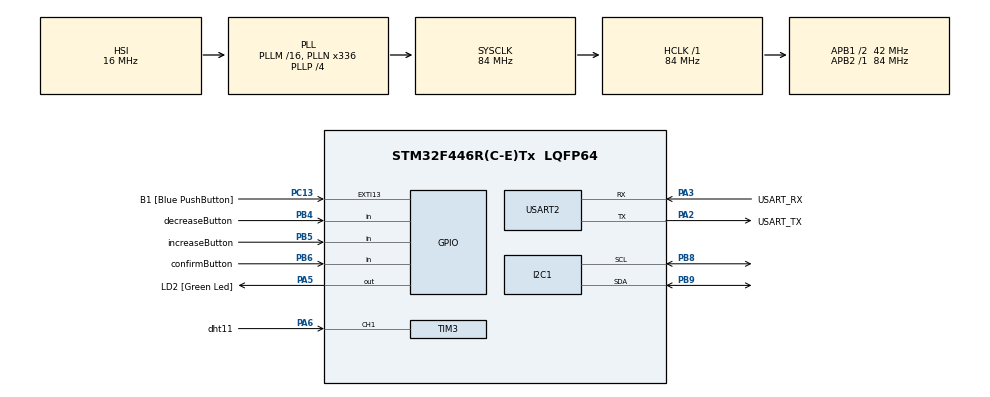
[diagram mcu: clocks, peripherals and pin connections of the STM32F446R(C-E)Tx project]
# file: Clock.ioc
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Mcu.Family=STM32F4
Mcu.Name=STM32F446R(C-E)Tx
Mcu.Package=LQFP64
NVIC.PriorityGroup=NVIC_PRIORITYGROUP_0
NVIC.RTC_Alarm_IRQn=true\:0\:0\:false\:false\:true\:true\:true\:true
NVIC.TIM2_IRQn=true\:0\:0\:false\:false\:true\:true\:true\:true
NVIC.TIM3_IRQn=true\:0\:0\:false\:false\:true\:true\:true\:true
PA13.GPIO_Label=TMS
PA13.Mode=Serial_Wire
PA13.Signal=SYS_JTMS-SWDIO
PA14.GPIO_Label=TCK
PA14.Mode=Serial_Wire
PA14.Signal=SYS_JTCK-SWCLK
PA2.GPIO_Label=USART_TX
PA2.Mode=Asynchronous
PA2.Signal=USART2_TX
PA3.GPIO_Label=USART_RX
PA3.Mode=Asynchronous
PA3.Signal=USART2_RX
PA4.Signal=USART2_CK
PA5.GPIO_Label=LD2 [Green Led]
PA5.Signal=GPIO_Output
PA6.GPIO_Label=dht11
PA6.GPIO_PuPd=GPIO_PULLUP
PA6.Signal=S_TIM3_CH1
PB3.GPIO_Label=SWO
PB3.Signal=SYS_JTDO-SWO
PB4.GPIO_Label=decreaseButton
PB4.GPIO_PuPd=GPIO_PULLDOWN
PB4.Signal=GPIO_Input
PB5.GPIO_Label=increaseButton
PB5.GPIO_PuPd=GPIO_PULLDOWN
PB5.Signal=GPIO_Input
PB6.GPIO_Label=confirmButton
PB6.Signal=GPIO_Input
PB8.Mode=I2C
PB8.Signal=I2C1_SCL
PB9.Mode=I2C
PB9.Signal=I2C1_SDA
PC13.GPIO_Label=B1 [Blue PushButton]
PC13.GPIO_ModeDefaultEXTI=GPIO_MODE_IT_FALLING
PC13.Signal=GPXTI13
PC14-OSC32_IN.Mode=LSE-External-Oscillator
PC14-OSC32_IN.Signal=RCC_OSC32_IN
PC15-OSC32_OUT.Mode=LSE-External-Oscillator
PC15-OSC32_OUT.Signal=RCC_OSC32_OUT
PH0-OSC_IN.Signal=RCC_OSC_IN
PH1-OSC_OUT.Signal=RCC_OSC_OUT
ProjectManager.HeapSize=0x200
ProjectManager.StackSize=0x400
ProjectManager.TargetToolchain=Makefile
RCC.48MHZClocksFreq_Value=84000000
RCC.AHBFreq_Value=84000000
RCC.APB1CLKDivider=RCC_HCLK_DIV2
RCC.APB1Freq_Value=42000000
RCC.APB1TimFreq_Value=84000000
RCC.APB2Freq_Value=84000000
RCC.APB2TimFreq_Value=84000000
RCC.CortexFreq_Value=84000000
RCC.FLatency-AdvancedSettings=FLASH_LATENCY_2
RCC.HCLKFreq_Value=84000000
RCC.HSE_VALUE=8000000
RCC.HSI_VALUE=16000000
RCC.PLLN=336
RCC.PLLP=RCC_PLLP_DIV4
RCC.RCC_RTC_Clock_SourceVirtual=RCC_RTCCLKSOURCE_LSE
RCC.SYSCLKFreq_VALUE=84000000
RCC.SYSCLKSource=RCC_SYSCLKSOURCE_PLLCLK
RCC.USBFreq_Value=168000000
RCC.VCOOutputFreq_Value=336000000
RTC.Alarm=RTC_ALARM_A
RTC.Format=RTC_FORMAT_BIN
SH.S_TIM3_CH1.0=TIM3_CH1,Input_Capture1_from_TI1
TIM2.AutoReloadPreload=TIM_AUTORELOAD_PRELOAD_ENABLE
TIM2.Period=500 - 1
TIM2.Prescaler=1600 - 1
TIM3.Channel-Input_Capture1_from_TI1=TIM_CHANNEL_1
TIM3.ICPolarity_CH1=TIM_INPUTCHANNELPOLARITY_FALLING
TIM3.Prescaler=83
USART2.VirtualMode=VM_ASYNC
VP_RTC_VS_RTC_Activate.Mode=RTC_Enabled
VP_RTC_VS_RTC_Alarm_A_Intern.Mode=Alarm A
VP_RTC_VS_RTC_Calendar.Mode=RTC_Calendar
VP_TIM2_VS_ClockSourceINT.Mode=Internal
VP_TIM3_VS_ClockSourceINT.Mode=Internal
board=NUCLEO-F446RE

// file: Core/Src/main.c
/* USER CODE BEGIN Header */
/**
  ******************************************************************************
  * @file           : main.c
  * @brief          : Main program body
  ******************************************************************************
  * @attention
  *
  * Copyright (c) 2026 STMicroelectronics.
  * All rights reserved.
  *
  * This software is licensed under terms that can be found in the LICENSE file
  * in the root directory of this software component.
  * If no LICENSE file comes with this software, it is provided AS-IS.
  *
  ******************************************************************************
  */
/* USER CODE END Header */
#include "main.h"

/* USER CODE BEGIN Includes */

#include "uart.h"
#include "lcd_hd44780.h"
#include "i2c_interface.h"
#include <stdio.h>
#include "clock.h"
#include "button.h"
#include "dht11.h"

/* USER CODE END Includes */

I2C_HandleTypeDef hi2c1;

RTC_HandleTypeDef hrtc;

TIM_HandleTypeDef htim2;
TIM_HandleTypeDef htim3;

UART_HandleTypeDef huart2;

/* USER CODE BEGIN PV */

RTC_TimeTypeDef sTime = {0};
RTC_DateTypeDef sDate = {0};

/* USER CODE END PV */

void SystemClock_Config(void);
static void MX_GPIO_Init(void);
static void MX_USART2_UART_Init(void);
static void MX_I2C1_Init(void);
static void MX_RTC_Init(void);
static void MX_TIM2_Init(void);
static void MX_TIM3_Init(void);

/* USER CODE BEGIN 0 */
volatile uint8_t dht_trigger_flag = 0;
static uint16_t dht11_timer = 200;

/* USER CODE END 0 */

int main(void)
{

  /* MCU Configuration--------------------------------------------------------*/

  /* Reset of all peripherals, Initializes the Flash interface and the Systick. */
  HAL_Init();

  /* Configure the system clock */
  SystemClock_Config();

  /* Initialize all configured peripherals */
  MX_GPIO_Init();
  MX_USART2_UART_Init();
  MX_I2C1_Init();
  MX_RTC_Init();
  MX_TIM2_Init();
  MX_TIM3_Init();
  /* USER CODE BEGIN 2 */

  uart_init();
  LCD_Init();

  HAL_RTC_Init(&hrtc);

  char buffer[100];

  HAL_TIM_Base_Start_IT(&htim2);
  DHT_init();

  LCD_Set_Cursor(0, 0);
  LCD_Send_String("Time:");

  LCD_Set_Cursor(1, 0);
  LCD_Send_String("Temp:");

  LCD_Set_Cursor(2, 0);
  LCD_Send_String("Humidity:");

  /* USER CODE END 2 */

  /* Infinite loop */
  while (1)
  {

    /* USER CODE BEGIN 3 */
    if (dht_trigger_flag) {
        DHT_Read();
        dht_trigger_flag = 0;
    }

    HAL_RTC_GetTime(&hrtc, &sTime, RTC_FORMAT_BIN);
    HAL_RTC_GetDate(&hrtc, &sDate, RTC_FORMAT_BIN);

    LCD_Set_Cursor(0, 6);
    sprintf(buffer, "%02d:%02d:%02d", sTime.Hours, sTime.Minutes, sTime.Seconds);
    LCD_Send_String(buffer);

    LCD_Set_Cursor(1, 6);
    sprintf(buffer, "%u.%u ", dht_humidity / 10, dht_humidity % 10);
    LCD_Send_String(buffer);

    LCD_Set_Cursor(2, 10);
    sprintf(buffer, "%u.%u", dht_temperature / 10, dht_temperature % 10);
    LCD_Send_String(buffer);
  }
  /* USER CODE END 3 */
}

void SystemClock_Config(void)
{
  RCC_OscInitTypeDef RCC_OscInitStruct = {0};
  RCC_ClkInitTypeDef RCC_ClkInitStruct = {0};

  /** Configure the main internal regulator output voltage
  */
  __HAL_RCC_PWR_CLK_ENABLE();
  __HAL_PWR_VOLTAGESCALING_CONFIG(PWR_REGULATOR_VOLTAGE_SCALE3);

  /** Initializes the RCC Oscillators according to the specified parameters
  * in the RCC_OscInitTypeDef structure.
  */
  RCC_OscInitStruct.OscillatorType = RCC_OSCILLATORTYPE_HSI|RCC_OSCILLATORTYPE_LSE;
  RCC_OscInitStruct.LSEState = RCC_LSE_ON;
  RCC_OscInitStruct.HSIState = RCC_HSI_ON;
  RCC_OscInitStruct.HSICalibrationValue = RCC_HSICALIBRATION_DEFAULT;
  RCC_OscInitStruct.PLL.PLLState = RCC_PLL_ON;
  RCC_OscInitStruct.PLL.PLLSource = RCC_PLLSOURCE_HSI;
  RCC_OscInitStruct.PLL.PLLM = 16;
  RCC_OscInitStruct.PLL.PLLN = 336;
  RCC_OscInitStruct.PLL.PLLP = RCC_PLLP_DIV4;
  RCC_OscInitStruct.PLL.PLLQ = 2;
  RCC_OscInitStruct.PLL.PLLR = 2;
  if (HAL_RCC_OscConfig(&RCC_OscInitStruct) != HAL_OK)
  {
    Error_Handler();
  }

  /** Initializes the CPU, AHB and APB buses clocks
  */
  RCC_ClkInitStruct.ClockType = RCC_CLOCKTYPE_HCLK|RCC_CLOCKTYPE_SYSCLK
                              |RCC_CLOCKTYPE_PCLK1|RCC_CLOCKTYPE_PCLK2;
  RCC_ClkInitStruct.SYSCLKSource = RCC_SYSCLKSOURCE_PLLCLK;
  RCC_ClkInitStruct.AHBCLKDivider = RCC_SYSCLK_DIV1;
  RCC_ClkInitStruct.APB1CLKDivider = RCC_HCLK_DIV2;
  RCC_ClkInitStruct.APB2CLKDivider = RCC_HCLK_DIV1;

  if (HAL_RCC_ClockConfig(&RCC_ClkInitStruct, FLASH_LATENCY_2) != HAL_OK)
  {
    Error_Handler();
  }
}

static void MX_I2C1_Init(void)
{

  hi2c1.Instance = I2C1;
  hi2c1.Init.ClockSpeed = 100000;
  hi2c1.Init.DutyCycle = I2C_DUTYCYCLE_2;
  hi2c1.Init.OwnAddress1 = 0;
  hi2c1.Init.AddressingMode = I2C_ADDRESSINGMODE_7BIT;
  hi2c1.Init.DualAddressMode = I2C_DUALADDRESS_DISABLE;
  hi2c1.Init.OwnAddress2 = 0;
  hi2c1.Init.GeneralCallMode = I2C_GENERALCALL_DISABLE;
  hi2c1.Init.NoStretchMode = I2C_NOSTRETCH_DISABLE;
  if (HAL_I2C_Init(&hi2c1) != HAL_OK)
  {
    Error_Handler();
  }

}

static void MX_RTC_Init(void)
{

  RTC_TimeTypeDef sTime = {0};
  RTC_DateTypeDef sDate = {0};
  RTC_AlarmTypeDef sAlarm = {0};

  /** Initialize RTC Only
  */
  hrtc.Instance = RTC;
  hrtc.Init.HourFormat = RTC_HOURFORMAT_24;
  hrtc.Init.AsynchPrediv = 127;
  hrtc.Init.SynchPrediv = 255;
  hrtc.Init.OutPut = RTC_OUTPUT_DISABLE;
  hrtc.Init.OutPutPolarity = RTC_OUTPUT_POLARITY_HIGH;
  hrtc.Init.OutPutType = RTC_OUTPUT_TYPE_OPENDRAIN;
  if (HAL_RTC_Init(&hrtc) != HAL_OK)
  {
    Error_Handler();
  }

  /** Initialize RTC and set the Time and Date
  */
  sTime.Hours = 0;
  sTime.Minutes = 0;
  sTime.Seconds = 0;
  sTime.DayLightSaving = RTC_DAYLIGHTSAVING_NONE;
  sTime.StoreOperation = RTC_STOREOPERATION_RESET;
  if (HAL_RTC_SetTime(&hrtc, &sTime, RTC_FORMAT_BIN) != HAL_OK)
  {
    Error_Handler();
  }
  sDate.WeekDay = RTC_WEEKDAY_MONDAY;
  sDate.Month = RTC_MONTH_JANUARY;
  sDate.Date = 1;
  sDate.Year = 0;

  if (HAL_RTC_SetDate(&hrtc, &sDate, RTC_FORMAT_BIN) != HAL_OK)
  {
    Error_Handler();
  }

  /** Enable the Alarm A
  */
  sAlarm.AlarmTime.Hours = 0;
  sAlarm.AlarmTime.Minutes = 0;
  sAlarm.AlarmTime.Seconds = 0;
  sAlarm.AlarmTime.SubSeconds = 0;
  sAlarm.AlarmTime.DayLightSaving = RTC_DAYLIGHTSAVING_NONE;
  sAlarm.AlarmTime.StoreOperation = RTC_STOREOPERATION_RESET;
  sAlarm.AlarmMask = RTC_ALARMMASK_NONE;
  sAlarm.AlarmSubSecondMask = RTC_ALARMSUBSECONDMASK_ALL;
  sAlarm.AlarmDateWeekDaySel = RTC_ALARMDATEWEEKDAYSEL_DATE;
  sAlarm.AlarmDateWeekDay = 1;
  sAlarm.Alarm = RTC_ALARM_A;
  if (HAL_RTC_SetAlarm_IT(&hrtc, &sAlarm, RTC_FORMAT_BIN) != HAL_OK)
  {
    Error_Handler();
  }

}

static void MX_TIM2_Init(void)
{

  TIM_ClockConfigTypeDef sClockSourceConfig = {0};
  TIM_MasterConfigTypeDef sMasterConfig = {0};

  htim2.Instance = TIM2;
  htim2.Init.Prescaler = 1600 - 1;
  htim2.Init.CounterMode = TIM_COUNTERMODE_UP;
  htim2.Init.Period = 500 - 1;
  htim2.Init.ClockDivision = TIM_CLOCKDIVISION_DIV1;
  htim2.Init.AutoReloadPreload = TIM_AUTORELOAD_PRELOAD_ENABLE;
  if (HAL_TIM_Base_Init(&htim2) != HAL_OK)
  {
    Error_Handler();
  }
  sClockSourceConfig.ClockSource = TIM_CLOCKSOURCE_INTERNAL;
  if (HAL_TIM_ConfigClockSource(&htim2, &sClockSourceConfig) != HAL_OK)
  {
    Error_Handler();
  }
  sMasterConfig.MasterOutputTrigger = TIM_TRGO_RESET;
  sMasterConfig.MasterSlaveMode = TIM_MASTERSLAVEMODE_DISABLE;
  if (HAL_TIMEx_MasterConfigSynchronization(&htim2, &sMasterConfig) != HAL_OK)
  {
    Error_Handler();
  }

}

static void MX_TIM3_Init(void)
{

  TIM_ClockConfigTypeDef sClockSourceConfig = {0};
  TIM_MasterConfigTypeDef sMasterConfig = {0};
  TIM_IC_InitTypeDef sConfigIC = {0};

  htim3.Instance = TIM3;
  htim3.Init.Prescaler = 83;
  htim3.Init.CounterMode = TIM_COUNTERMODE_UP;
  htim3.Init.Period = 65535;
  htim3.Init.ClockDivision = TIM_CLOCKDIVISION_DIV1;
  htim3.Init.AutoReloadPreload = TIM_AUTORELOAD_PRELOAD_DISABLE;
  if (HAL_TIM_Base_Init(&htim3) != HAL_OK)
  {
    Error_Handler();
  }
  sClockSourceConfig.ClockSource = TIM_CLOCKSOURCE_INTERNAL;
  if (HAL_TIM_ConfigClockSource(&htim3, &sClockSourceConfig) != HAL_OK)
  {
    Error_Handler();
  }
  if (HAL_TIM_IC_Init(&htim3) != HAL_OK)
  {
    Error_Handler();
  }
  sMasterConfig.MasterOutputTrigger = TIM_TRGO_RESET;
  sMasterConfig.MasterSlaveMode = TIM_MASTERSLAVEMODE_DISABLE;
  if (HAL_TIMEx_MasterConfigSynchronization(&htim3, &sMasterConfig) != HAL_OK)
  {
    Error_Handler();
  }
  sConfigIC.ICPolarity = TIM_INPUTCHANNELPOLARITY_FALLING;
  sConfigIC.ICSelection = TIM_ICSELECTION_DIRECTTI;
  sConfigIC.ICPrescaler = TIM_ICPSC_DIV1;
  sConfigIC.ICFilter = 0;
  if (HAL_TIM_IC_ConfigChannel(&htim3, &sConfigIC, TIM_CHANNEL_1) != HAL_OK)
  {
    Error_Handler();
  }

}

static void MX_USART2_UART_Init(void)
{

  huart2.Instance = USART2;
  huart2.Init.BaudRate = 115200;
  huart2.Init.WordLength = UART_WORDLENGTH_8B;
  huart2.Init.StopBits = UART_STOPBITS_1;
  huart2.Init.Parity = UART_PARITY_NONE;
  huart2.Init.Mode = UART_MODE_TX_RX;
  huart2.Init.HwFlowCtl = UART_HWCONTROL_NONE;
  huart2.Init.OverSampling = UART_OVERSAMPLING_16;
  if (HAL_UART_Init(&huart2) != HAL_OK)
  {
    Error_Handler();
  }

}

static void MX_GPIO_Init(void)
{
  GPIO_InitTypeDef GPIO_InitStruct = {0};

  /* GPIO Ports Clock Enable */
  __HAL_RCC_GPIOC_CLK_ENABLE();
  __HAL_RCC_GPIOH_CLK_ENABLE();
  __HAL_RCC_GPIOA_CLK_ENABLE();
  __HAL_RCC_GPIOB_CLK_ENABLE();

  /*Configure GPIO pin Output Level */
  HAL_GPIO_WritePin(LD2_GPIO_Port, LD2_Pin, GPIO_PIN_RESET);

  /*Configure GPIO pin : B1_Pin */
  GPIO_InitStruct.Pin = B1_Pin;
  GPIO_InitStruct.Mode = GPIO_MODE_IT_FALLING;
  GPIO_InitStruct.Pull = GPIO_NOPULL;
  HAL_GPIO_Init(B1_GPIO_Port, &GPIO_InitStruct);

  /*Configure GPIO pin : LD2_Pin */
  GPIO_InitStruct.Pin = LD2_Pin;
  GPIO_InitStruct.Mode = GPIO_MODE_OUTPUT_PP;
  GPIO_InitStruct.Pull = GPIO_NOPULL;
  GPIO_InitStruct.Speed = GPIO_SPEED_FREQ_LOW;
  HAL_GPIO_Init(LD2_GPIO_Port, &GPIO_InitStruct);

  /*Configure GPIO pins : decreaseButton_Pin increaseButton_Pin */
  GPIO_InitStruct.Pin = decreaseButton_Pin|increaseButton_Pin;
  GPIO_InitStruct.Mode = GPIO_MODE_INPUT;
  GPIO_InitStruct.Pull = GPIO_PULLDOWN;
  HAL_GPIO_Init(GPIOB, &GPIO_InitStruct);

  /*Configure GPIO pin : confirmButton_Pin */
  GPIO_InitStruct.Pin = confirmButton_Pin;
  GPIO_InitStruct.Mode = GPIO_MODE_INPUT;
  GPIO_InitStruct.Pull = GPIO_NOPULL;
  HAL_GPIO_Init(confirmButton_GPIO_Port, &GPIO_InitStruct);

}

/* USER CODE BEGIN 4 */

void HAL_TIM_PeriodElapsedCallback(TIM_HandleTypeDef *htim) {
    if (htim->Instance == TIM2) {
        Button_Scan();

        if (dht11_timer > 0) {
            dht11_timer--;
        } else {
            dht_trigger_flag = 1;
            dht11_timer = 200;
        }
    }
}

void HAL_TIM_IC_CaptureCallback(TIM_HandleTypeDef *htim) {
    if (htim->Instance == TIM3) {
        DHT_TIM_IC_CaptureCallback(htim);
    }
}

/* USER CODE END 4 */

void Error_Handler(void)
{
  __disable_irq();
  while (1)
  {
  }
}
